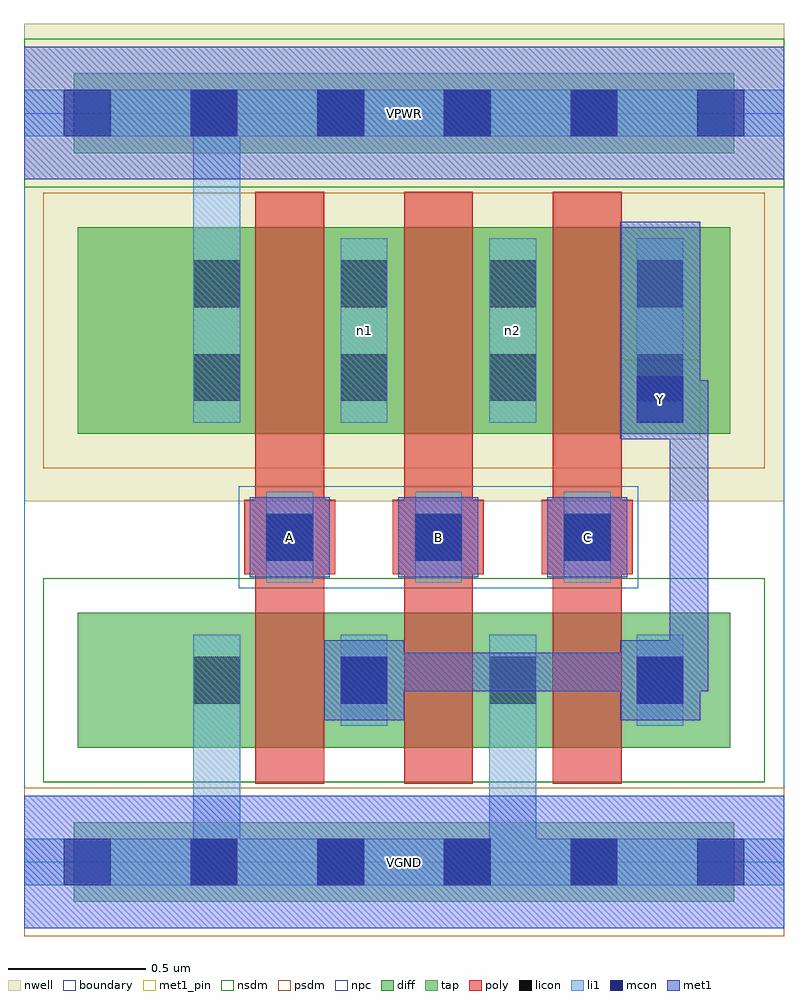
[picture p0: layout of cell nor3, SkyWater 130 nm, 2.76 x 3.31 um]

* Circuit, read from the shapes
.subckt nor3 A B C VGND VPWR Y n1 n2
XM1 Y A VGND VGND sky130_fd_pr__nfet_01v8 w=0.49 l=0.25
XM2 VGND B Y VGND sky130_fd_pr__nfet_01v8 w=0.49 l=0.25
XM3 Y C VGND VGND sky130_fd_pr__nfet_01v8 w=0.49 l=0.25
XM4 n1 A VPWR VPWR sky130_fd_pr__pfet_01v8 w=0.75 l=0.25
XM5 n2 B n1 VPWR sky130_fd_pr__pfet_01v8 w=0.75 l=0.25
XM6 Y C n2 VPWR sky130_fd_pr__pfet_01v8 w=0.75 l=0.25
.ends

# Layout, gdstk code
import gdstk
lib = gdstk.Library(unit=1e-6, precision=1e-09)
def R(c, l, rs):  # rectangles x0, y0, x1, y1
    for r in rs: c.add(gdstk.rectangle(r[:2], r[2:], *l))
def A(c, l, x, y, w, h, nx, ny, dx, dy):  # array of equal rectangles
    R(c, l, [(x+i*dx, y+j*dy, x+i*dx+w, y+j*dy+h) for i in range(nx) for j in range(ny)])
nwell = (64, 20)
diff = (65, 20)
tap = (65, 44)
poly = (66, 20)
licon = (66, 44)
li1 = (67, 20)
mcon = (67, 44)
met1_pin = (68, 16)
met1 = (68, 20)
nsdm = (93, 44)
psdm = (94, 20)
npc = (95, 20)
boundary = (235, 4)

nor3 = lib.new_cell('nor3')
R(nor3, nwell, [(0,1.31,2.76,3.045)])
R(nor3, diff, [(0.195,0.415,2.565,0.905), (0.195,1.555,2.565,2.305)])
R(nor3, tap, [(0.18,-0.145,2.58,0.145), (0.18,2.575,2.58,2.865)])
A(nor3, poly, 0.84, 0.285, 0.25, 2.15, 3, 1, 0.54, 0)
A(nor3, poly, 0.8, 1.045, 0.33, 0.27, 3, 1, 0.54, 0)
A(nor3, licon, 0.605, -0.085, 0.17, 0.17, 4, 2, 0.46, 2.72)
A(nor3, licon, 0.88, 1.095, 0.17, 0.17, 3, 1, 0.54, 0)
R(nor3, licon, [(0.615,0.575,0.785,0.745), (1.15,0.575,1.32,0.745), (1.69,0.575,1.86,0.745), (2.225,0.575,2.395,0.745), (0.615,1.675,0.785,1.845), (1.15,1.675,1.32,1.845), (1.69,1.675,1.86,1.845), (2.225,1.675,2.395,1.845), (0.615,2.015,0.785,2.185), (1.15,2.015,1.32,2.185), (1.69,2.015,1.86,2.185), (2.225,2.015,2.395,2.185)])
A(nor3, li1, 0.88, 1.015, 0.17, 0.33, 3, 1, 0.54, 0)
R(nor3, li1, [(0,-0.085,2.76,0.085), (0.615,-0.085,0.785,0.825), (1.69,-0.085,1.86,0.825), (0.615,0.495,0.785,0.825), (1.15,0.495,1.32,0.825), (1.69,0.495,1.86,0.825), (2.225,0.495,2.395,0.825), (0.615,1.595,0.785,2.265), (0.615,1.595,0.785,2.805), (1.15,1.595,1.32,2.265), (1.69,1.595,1.86,2.265), (2.225,1.595,2.395,2.265), (0,2.635,2.76,2.805)])
A(nor3, mcon, 0.145, -0.085, 0.17, 0.17, 6, 2, 0.46, 2.72)
A(nor3, mcon, 0.88, 1.095, 0.17, 0.17, 3, 1, 0.54, 0)
R(nor3, mcon, [(1.15,0.575,1.32,0.745), (2.225,0.575,2.395,0.745), (2.225,1.595,2.395,1.765)])
A(nor3, met1_pin, 0.82, 1.035, 0.29, 0.29, 3, 1, 0.54, 0)
R(nor3, met1_pin, [(0,-0.24,2.76,0.24), (2.165,1.535,2.455,1.825), (0,2.48,2.76,2.96)])
A(nor3, met1, 0.82, 1.035, 0.29, 0.29, 3, 1, 0.54, 0)
R(nor3, met1, [(0,-0.24,2.76,0.24), (1.09,0.515,1.38,0.805), (2.165,0.515,2.455,0.805), (1.195,0.62,1.335,0.76), (1.195,0.62,2.37,0.76), (2.23,0.62,2.37,0.76), (2.23,0.62,2.485,0.76), (2.345,0.62,2.485,1.565), (2.345,1.425,2.485,1.75), (2.345,1.425,2.485,1.68), (2.165,1.535,2.455,1.825), (2.165,1.535,2.455,2.325), (2.23,1.54,2.37,1.68), (2.23,1.54,2.485,1.68), (2.24,1.61,2.485,1.75), (0,2.48,2.76,2.96)])
R(nor3, nsdm, [(0.07,0.29,2.69,1.03), (0,2.45,2.76,2.99)])
R(nor3, psdm, [(0,-0.27,2.76,0.27), (0.07,1.43,2.69,2.43)])
R(nor3, npc, [(0.78,0.995,2.23,1.365)])
R(nor3, boundary, [(0,0,2.76,2.72)])
nor3.add(gdstk.Label('n1', (1.235,1.93), layer=67, texttype=5))
nor3.add(gdstk.Label('n2', (1.775,1.93), layer=67, texttype=5))
nor3.add(gdstk.Label('A', (0.965,1.18), layer=68, texttype=5))
nor3.add(gdstk.Label('B', (1.505,1.18), layer=68, texttype=5))
nor3.add(gdstk.Label('C', (2.045,1.18), layer=68, texttype=5))
nor3.add(gdstk.Label('Y', (2.31,1.68), layer=68, texttype=5))
nor3.add(gdstk.Label('VPWR', (1.38,2.72), layer=68, texttype=5))
nor3.add(gdstk.Label('VGND', (1.38,0), layer=68, texttype=5))
nor3.add(gdstk.Label('A', (0.965,1.18), layer=68, texttype=16))
nor3.add(gdstk.Label('B', (1.505,1.18), layer=68, texttype=16))
nor3.add(gdstk.Label('C', (2.045,1.18), layer=68, texttype=16))
nor3.add(gdstk.Label('Y', (2.31,1.68), layer=68, texttype=16))
nor3.add(gdstk.Label('VPWR', (1.38,2.72), layer=68, texttype=16))
nor3.add(gdstk.Label('VGND', (1.38,0), layer=68, texttype=16))

lib.write_gds('nor3.gds')
